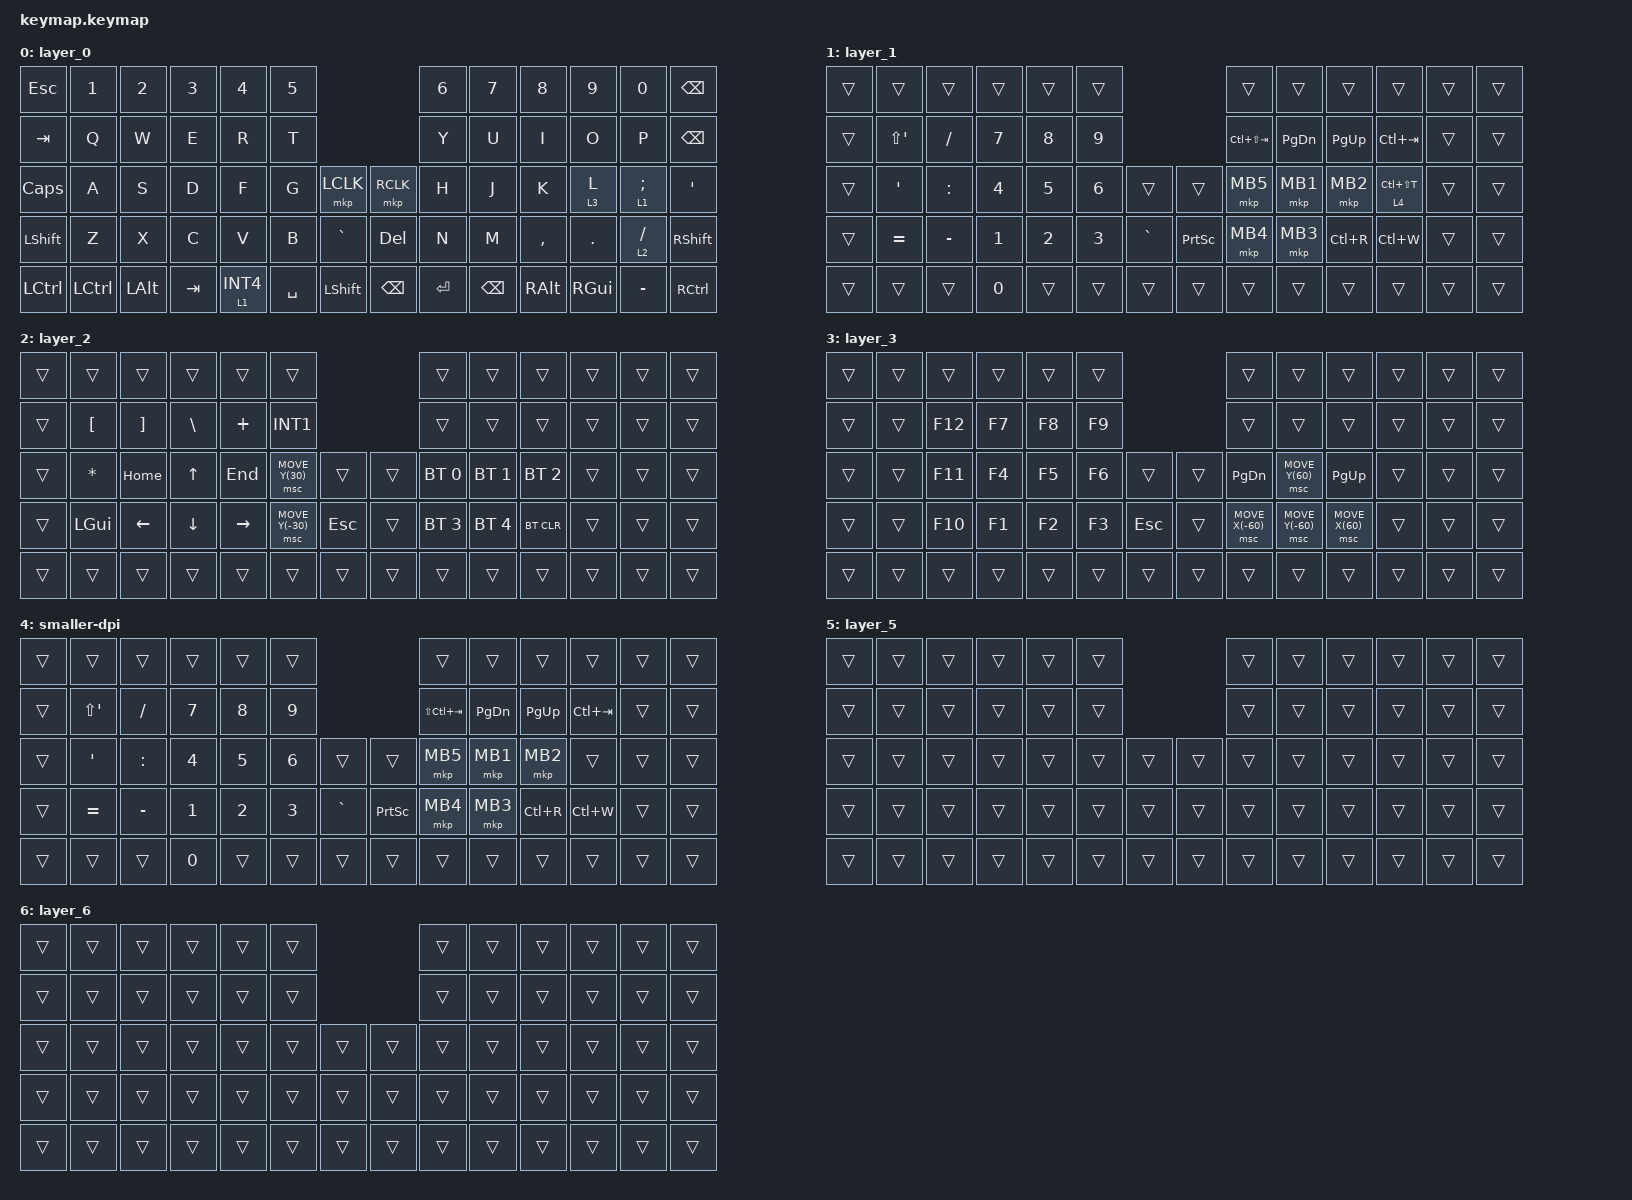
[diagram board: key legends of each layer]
#include <behaviors.dtsi>
#include <dt-bindings/zmk/bt.h>
#include <dt-bindings/zmk/keys.h>
#include <dt-bindings/zmk/pointing.h>

/ {
    combos {
        compatible = "zmk,combos";

        bt_clear {
            bindings = <&bt BT_CLR>;
            key-positions = <28 29>;
            layers = <2>;
        };
    };

    keymap {
        compatible = "zmk,keymap";

        layer_0 {
            bindings = <
&kp ESC    &kp N1     &kp N2        &kp N3   &kp N4      &kp N5                                    &kp N6     &kp N7    &kp N8     &kp N9      &kp N0           &kp BSPC
&kp TAB    &kp Q      &kp W         &kp E    &kp R       &kp T                                     &kp Y      &kp U     &kp I      &kp O       &kp P            &kp BSPC
&kp CAPS   &kp A      &kp S         &kp D    &kp F       &kp G      &mkp LCLK       &mkp RCLK      &kp H      &kp J     &kp K      &lt 3 L     &lt 1 SEMICOLON  &kp SQT
&kp LSHFT  &kp Z      &kp X         &kp C    &kp V       &kp B      &kp GRAVE       &kp DEL        &kp N      &kp M     &kp COMMA  &kp PERIOD  &lt 2 SLASH      &kp RSHFT
&kp LCTRL  &kp LCTRL  &kp LEFT_ALT  &kp TAB  &lt 1 INT4  &kp SPACE  &kp LEFT_SHIFT  &kp BACKSPACE  &kp ENTER  &kp BSPC  &kp RALT   &kp RGUI    &kp MINUS        &kp RCTRL
            >;
        };

        layer_1 {
            bindings = <
&trans  &trans                &trans     &trans        &trans        &trans                                    &trans           &trans         &trans       &trans           &trans  &trans
&trans  &kp LS(SINGLE_QUOTE)  &kp SLASH  &kp NUMBER_7  &kp NUMBER_8  &kp NUMBER_9                              &kp LC(LS(TAB))  &kp PAGE_DOWN  &kp PAGE_UP  &kp LC(TAB)      &trans  &trans
&trans  &kp SINGLE_QUOTE      &kp COLON  &kp NUMBER_4  &kp NUMBER_5  &kp NUMBER_6  &trans     &trans           &mkp MB5         &mkp MB1       &mkp MB2     &lt 4 LC(LS(T))  &trans  &trans
&trans  &kp EQUAL             &kp MINUS  &kp NUMBER_1  &kp NUMBER_2  &kp NUMBER_3  &kp GRAVE  &kp PRINTSCREEN  &mkp MB4         &mkp MB3       &kp LC(R)    &kp LC(W)        &trans  &trans
&trans  &trans                &trans     &kp NUMBER_0  &trans        &trans        &trans     &trans           &trans           &trans         &trans       &trans           &trans  &trans
            >;
        };

        layer_2 {
            bindings = <
&trans  &trans            &trans             &trans          &trans           &trans                     &trans        &trans        &trans        &trans  &trans  &trans
&trans  &kp LEFT_BRACKET  &kp RIGHT_BRACKET  &kp BACKSLASH   &kp PLUS         &kp INT1                   &trans        &trans        &trans        &trans  &trans  &trans
&trans  &kp ASTERISK      &kp HOME           &kp UP_ARROW    &kp END          &msc MOVE_Y(30)    &trans   &trans  &bt BT_SEL 0  &bt BT_SEL 1  &bt BT_SEL 2  &trans  &trans  &trans
&trans  &kp LEFT_GUI      &kp LEFT_ARROW     &kp DOWN_ARROW  &kp RIGHT_ARROW  &msc MOVE_Y(-30)   &kp ESC  &trans  &bt BT_SEL 3  &bt BT_SEL 4  &bt BT_CLR    &trans  &trans  &trans
&trans  &trans            &trans             &trans          &trans           &trans             &trans   &trans  &trans        &trans        &trans        &trans  &trans  &trans
            >;
        };

        layer_3 {
            bindings = <
&trans  &trans  &trans   &trans  &trans  &trans                      &trans            &trans            &trans           &trans  &trans  &trans
&trans  &trans  &kp F12  &kp F7  &kp F8  &kp F9                      &trans            &trans            &trans           &trans  &trans  &trans
&trans  &trans  &kp F11  &kp F4  &kp F5  &kp F6  &trans      &trans  &kp PAGE_DOWN     &msc MOVE_Y(60)   &kp PAGE_UP      &trans  &trans  &trans
&trans  &trans  &kp F10  &kp F1  &kp F2  &kp F3  &kp ESCAPE  &trans  &msc MOVE_X(-60)  &msc MOVE_Y(-60)  &msc MOVE_X(60)  &trans  &trans  &trans
&trans  &trans  &trans   &trans  &trans  &trans  &trans      &trans  &trans            &trans            &trans           &trans  &trans  &trans
            >;
        };

        smaller-dpi {
            bindings = <
&trans  &trans            &trans     &trans        &trans        &trans                                    &trans           &trans         &trans       &trans       &trans  &trans
&trans  &kp LS(APOS)      &kp SLASH  &kp NUMBER_7  &kp NUMBER_8  &kp NUMBER_9                              &kp LS(LC(TAB))  &kp PAGE_DOWN  &kp PAGE_UP  &kp LC(TAB)  &trans  &trans
&trans  &kp SINGLE_QUOTE  &kp COLON  &kp NUMBER_4  &kp NUMBER_5  &kp NUMBER_6  &trans     &trans           &mkp MB5         &mkp MB1       &mkp MB2     &trans       &trans  &trans
&trans  &kp EQUAL         &kp MINUS  &kp NUMBER_1  &kp NUMBER_2  &kp NUMBER_3  &kp GRAVE  &kp PRINTSCREEN  &mkp MB4         &mkp MB3       &kp LC(R)    &kp LC(W)    &trans  &trans
&trans  &trans            &trans     &kp NUMBER_0  &trans        &trans        &trans     &trans           &trans           &trans         &trans       &trans       &trans  &trans
            >;
        };

        layer_5 {
            bindings = <
&trans  &trans  &trans  &trans  &trans  &trans                  &trans  &trans  &trans  &trans  &trans  &trans
&trans  &trans  &trans  &trans  &trans  &trans                  &trans  &trans  &trans  &trans  &trans  &trans
&trans  &trans  &trans  &trans  &trans  &trans  &trans  &trans  &trans  &trans  &trans  &trans  &trans  &trans
&trans  &trans  &trans  &trans  &trans  &trans  &trans  &trans  &trans  &trans  &trans  &trans  &trans  &trans
&trans  &trans  &trans  &trans  &trans  &trans  &trans  &trans  &trans  &trans  &trans  &trans  &trans  &trans
            >;
        };

        layer_6 {
            bindings = <
&trans  &trans  &trans  &trans  &trans  &trans                  &trans  &trans  &trans  &trans  &trans  &trans
&trans  &trans  &trans  &trans  &trans  &trans                  &trans  &trans  &trans  &trans  &trans  &trans
&trans  &trans  &trans  &trans  &trans  &trans  &trans  &trans  &trans  &trans  &trans  &trans  &trans  &trans
&trans  &trans  &trans  &trans  &trans  &trans  &trans  &trans  &trans  &trans  &trans  &trans  &trans  &trans
&trans  &trans  &trans  &trans  &trans  &trans  &trans  &trans  &trans  &trans  &trans  &trans  &trans  &trans
            >;
        };
    };
};
